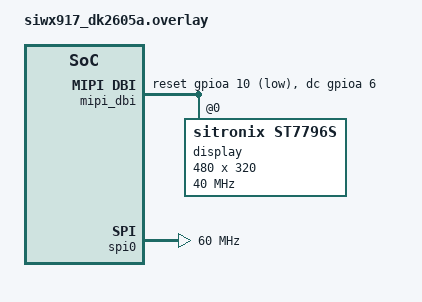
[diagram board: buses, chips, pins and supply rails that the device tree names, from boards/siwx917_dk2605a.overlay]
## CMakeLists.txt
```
cmake_minimum_required(VERSION 3.20.0)

find_package(Zephyr REQUIRED HINTS $ENV{ZEPHYR_BASE})
project(ble_hid_maze)

dt_chosen(display_node PROPERTY "zephyr,display")

if(NOT DEFINED display_node)
  message(FATAL_ERROR "No zephyr,display chosen node")
endif()

dt_prop(display_width
  PATH "${display_node}"
  PROPERTY width
  REQUIRED
)

dt_prop(display_height
  PATH "${display_node}"
  PROPERTY height
  REQUIRED
)

if(display_width EQUAL 128 AND display_height EQUAL 128)
  set(background_sources
    src/bg_hex_128x128.c
    src/bg_square_128x128.c
    src/bg_triangle_128x128.c
  )
elseif(display_width EQUAL 480 AND display_height EQUAL 320)
  set(background_sources
    src/bg_hex_480x320.c
    src/bg_square_480x320.c
    src/bg_triangle_480x320.c
  )
else()
  message(FATAL_ERROR
    "No maze assets for display resolution "
    "${display_width}x${display_height}"
  )
endif()

target_sources(app PRIVATE
  src/app_graphics.c
  src/app_graphics_marker.c
  src/app_input.c
  src/app_led.c
  src/bt_connection.c
  src/hid_mouse.c
  src/main.c
  ${background_sources}
)
```

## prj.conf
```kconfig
CONFIG_HEAP_MEM_POOL_SIZE=65536
CONFIG_LOG=y
CONFIG_DISPLAY=y

CONFIG_NO_OPTIMIZATIONS=n
CONFIG_SPEED_OPTIMIZATIONS=y

CONFIG_GPIO=y
CONFIG_INPUT=y


CONFIG_BT=y
CONFIG_BT_CENTRAL=y
CONFIG_BT_SMP=y
CONFIG_BT_GATT_CLIENT=y

CONFIG_BT_BONDABLE=y
CONFIG_BT_SETTINGS=y

CONFIG_BT_MAX_PAIRED=1
CONFIG_BT_KEYS_OVERWRITE_OLDEST=y

# For some BLE HID mouses we have to act as a device with input output
# required for bonding
CONFIG_BT_SMP_ENFORCE_MITM=n
CONFIG_BT_SMP_SC_ONLY=n
CONFIG_BT_SMP_SC_PAIR_ONLY=n

CONFIG_LOG=y
#CONFIG_LOG_MODE_DEFERRED=y
#CONFIG_LOG_BUFFER_SIZE=16384
#CONFIG_LOG_PROCESS_THREAD=y
#CONFIG_LOG_PROCESS_THREAD_STACK_SIZE=2048
#CONFIG_LOG_PROCESS_THREAD_PRIORITY=5

#CONFIG_BT_DEBUG_LOG=y
#CONFIG_BT_HCI_CORE_LOG_LEVEL_DBG=y
#CONFIG_BT_CONN_LOG_LEVEL_DBG=y
#CONFIG_BT_HCI_DRIVER_LOG_LEVEL_DBG=y


CONFIG_SETTINGS=y
CONFIG_SETTINGS_NVS=y

CONFIG_FLASH=y
CONFIG_FLASH_MAP=y
CONFIG_NVS=y

# We need only the internal Flash
CONFIG_SPI_NOR=n

CONFIG_BT_LOG_LEVEL_INF=y

# Onyl for debugging:
#CONFIG_BT_SMP_LOG_LEVEL_DBG=y

#CONFIG_BT_LOG_LEVEL_DBG=y
#CONFIG_SETTINGS_LOG_LEVEL_DBG=y

# Better fatal error diagnostics
#CONFIG_DEBUG=y
#CONFIG_ASSERT=y
#CONFIG_FAULT_DUMP=2

# Print thread names instead of "unknown"
#CONFIG_THREAD_NAME=y
#CONFIG_THREAD_MONITOR=y
#CONFIG_THREAD_STACK_INFO=y

# Catch stack problems earlier
#CONFIG_INIT_STACKS=y
#CONFIG_STACK_SENTINEL=y
#CONFIG_HW_STACK_PROTECTION=y

# Avoid losing logs on crash
CONFIG_LOG=y
CONFIG_LOG_MODE_IMMEDIATE=y

# Coredump to log output
#CONFIG_DEBUG_COREDUMP=y
#CONFIG_DEBUG_COREDUMP_BACKEND_LOGGING=y
#CONFIG_DEBUG_COREDUMP_MEMORY_DUMP_MIN=y


#CONFIG_EXCEPTION_STACK_TRACE=y

CONFIG_BT_RX_STACK_SIZE=4096
CONFIG_SYSTEM_WORKQUEUE_STACK_SIZE=4096
CONFIG_MAIN_STACK_SIZE=4096
```

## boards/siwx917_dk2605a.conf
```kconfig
#CONFIG_SPI_SILABS_SIWX91X_GSPI_DMA=y

#CONFIG_DMA=y
#CONFIG_SPI_SILABS_SIWX91X_GSPI_DMA_DESCR_COUNT=3

#CONFIG_MAIN_STACK_SIZE=8192
#CONFIG_SYSTEM_WORKQUEUE_STACK_SIZE=4096
#CONFIG_BT_RX_STACK_SIZE=4096
#CONFIG_BT_HCI_TX_STACK_SIZE=2048

#CONFIG_DEBUG=y
#CONFIG_ASSERT=y

#CONFIG_INIT_STACKS=y
#CONFIG_STACK_SENTINEL=y
#CONFIG_STACK_USAGE=y
#CONFIG_THREAD_STACK_INFO=y

# Thread listing
#CONFIG_THREAD_NAME=y
#CONFIG_THREAD_MONITOR=y

#CONFIG_FAULT_DUMP=2
#CONFIG_NO_OPTIMIZATIONS=y
#CONFIG_SPEED_OPTIMIZATIONS=n


# Shell
#CONFIG_SHELL=y
#CONFIG_KERNEL_SHELL=y

# Thread listing
#CONFIG_THREAD_MONITOR=y
#CONFIG_THREAD_NAME=y

# CPU usage / runtime stats
#CONFIG_THREAD_RUNTIME_STATS=y
#CONFIG_THREAD_RUNTIME_STATS_USE_TIMING_FUNCTIONS=y

# Required for runtime stats backend
#CONFIG_TIMING_FUNCTIONS=y


#CONFIG_UART_CONSOLE=y
#CONFIG_SHELL_BACKEND_SERIAL=y
```

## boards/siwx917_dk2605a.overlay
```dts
#include <zephyr/dt-bindings/mipi_dbi/mipi_dbi.h>

/* Disable the unused Wi-Fi network interface. */
&wifi0 {
	status = "disabled";
};

/ {
	chosen {
		zephyr,display = &display;
	};

	mipi_dbi {
		compatible = "zephyr,mipi-dbi-spi";
		spi-dev = <&spi0>;
		dc-gpios = <&gpioa 6 GPIO_ACTIVE_HIGH>; /* EXP21 */
		reset-gpios = <&gpioa 10 GPIO_ACTIVE_LOW>; /* EXP23 */
		write-only;
		#address-cells = <1>;
		#size-cells = <0>;

		display: display@0 {
			compatible = "sitronix,st7796s";
			reg = <0>;
			mipi-max-frequency = <DT_FREQ_M(40)>;
			mipi-mode = "MIPI_DBI_MODE_SPI_4WIRE";
			color-coding = "MIPI_DBI_MODE_RGB565";
			height = <320>;
			width = <480>;
			color-invert;
			madctl = <0x3e>;
			pgc = [F0 06 0B 07 06 05 2E 33 47 3A 17 16 2E 31];
			ngc = [F0 09 0D 09 08 23 2E 33 46 38 13 13 2C 32];
		};
	};
};

&pinctrl0 {
	spi_default: spi_default {
		group {
			pinmux = <GSPI_CLK_HP25>,  /* EXP03 */
				 <GSPI_CS0_HP28>,  /* EXP09 */
				 <GSPI_MOSI_HP27>; /* EXP07 */
		};
	};
};

&spi0 {
	pinctrl-0 = <&spi_default>;
	pinctrl-names = "default";
	clock-frequency = <DT_FREQ_M(60)>;
	status = "okay";
};
```

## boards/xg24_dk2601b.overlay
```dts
#include <zephyr/dt-bindings/mipi_dbi/mipi_dbi.h>

/* Allow the sensor rail to be powered down when it is not in use. */
&sensor_enable {
	/delete-property/ regulator-boot-on;
	regulator-boot-off;
};

/ {
	aliases {
		led0 = &green_led;
	};

	chosen {
		zephyr,display = &display;
	};

	mipi_dbi {
		compatible = "zephyr,mipi-dbi-spi";
		spi-dev = <&eusart1>;
		dc-gpios = <&gpiob 0 GPIO_ACTIVE_HIGH>; /* EXP09 */
		reset-gpios = <&gpiod 2 GPIO_ACTIVE_LOW>; /* EXP13 */
		write-only;
		#address-cells = <1>;
		#size-cells = <0>;

		display: display@1 {
			compatible = "sitronix,st7796s";
			reg = <0x1>;
			mipi-max-frequency = <DT_FREQ_M(20)>;
			mipi-mode = "MIPI_DBI_MODE_SPI_4WIRE";
			color-coding = "MIPI_DBI_MODE_RGB565";
			height = <320>;
			width = <480>;
			color-invert;
			madctl = <0x28>;
			pgc = [F0 06 0B 07 06 05 2E 33 47 3A 17 16 2E 31];
			ngc = [F0 09 0D 09 08 23 2E 33 46 38 13 13 2C 32];
		};
	};
};

&eusart1 {
	clock-frequency = <DT_FREQ_M(20)>;
	cs-gpios = <&gpioc 0 GPIO_ACTIVE_LOW>,
		   <&gpioa 7 GPIO_ACTIVE_LOW>;
	status = "okay";
};

&usart0 {
	current-speed = <115200>;
};
```

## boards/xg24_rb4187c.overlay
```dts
/*
 * Copyright (c) 2025 Silabs
 *
 * SPDX-License-Identifier: Apache-2.0
 */

#include <zephyr/dt-bindings/mipi_dbi/mipi_dbi.h>


/ {
    leds {
        status = "disabled";
    };

	chosen {
		zephyr,display = &st7796_st7796_dlc0347bwp00sf_320x480;

	};

    mipi_dbi_st7796_dlc0347bwp00sf_320x480 {
		compatible = "zephyr,mipi-dbi-spi";
		spi-dev = <&eusart1>;
		dc-gpios = < &gpioa 5 GPIO_ACTIVE_HIGH>; /* EXP_HEADER7 */
		reset-gpios = < &gpioa 6 GPIO_ACTIVE_LOW>; /* EXP_HEADER11 */
		write-only;
		#address-cells = <1>;
		#size-cells = <0>;

		st7796_st7796_dlc0347bwp00sf_320x480: st7796@2 {
			compatible = "sitronix,st7796s";
			reg = <0x2>;
			mipi-max-frequency = <DT_FREQ_M(10)>;
   			mipi-mode = "MIPI_DBI_MODE_SPI_4WIRE";
            height = <480>;
			width = <320>;
			/* madctl = <0x68>; // 0x36 0x08 0x68 0xC8 0xA8*/

	        pgc = /bits/ 8 <0x0F 0x1F 0x1C 0x0C 0x0F 0x08 0x48 0x98 0x37 0x0A 0x13 0x04 0x11 0x0D>;
			ngc = /bits/ 8 <0x0F 0x32 0x2E 0x0B 0x0D 0x05 0x47 0x75 0x37 0x06 0x10 0x03 0x24 0x20>;
		};
	};
};

/delete-node/ &ls0xx_ls013b7dh03;

&eusart1 {
	cs-gpios = <&gpioc 8 GPIO_ACTIVE_HIGH>, <&gpioc 4 GPIO_ACTIVE_LOW>, <&gpioc 0 GPIO_ACTIVE_LOW>; /* EXP_HEADER10 */
    status = "okay";
};

&usart0 {
	current-speed = <921600>;
};
```

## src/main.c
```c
/*
 * Copyright (c) 2026 Silicon Laboratories Inc.
 * Copyright (c) 2019 Jan Van Winkel <jan.van_winkel@dxplore.eu>
 *
 * Based on ST7789V sample:
 * Copyright (c) 2019 Marc Reilly
 *
 * SPDX-License-Identifier: Apache-2.0
 */

#include <zephyr/logging/log.h>
LOG_MODULE_REGISTER(main, LOG_LEVEL_INF);

#include <zephyr/kernel.h>
#include <zephyr/sys/util.h>

#include <stdint.h>
#include <stdlib.h>

#include "app_types.h"
#include "ble_hid_app.h"
#include "app_input.h"
#include "app_display.h"
#include "app_graphics.h"
#include "app_graphics_marker.h"

enum states_t {
	APP_STATE_START,
	APP_STATE_LOAD_GAME,
	APP_STATE_RUN_GAME,
	APP_STATE_FINISH_GAME,
};

int main(void)
{
	enum states_t app_state = APP_STATE_START;
	struct int16_xy_pair marker_pos_actual;
	struct int16_xy_pair marker_pos_new;
	struct mouse_data_element mouse_data_new_element;
	int ret;

	while (true) {
		switch (app_state) {
		case APP_STATE_START:
			LOG_INF("Starting BLE Maze game");

			app_input_init();
			ret = app_graphics_init();
			if (ret) {
				LOG_ERR("App graphics init failed: %d", ret);
				return ret;
			}

			ret = ble_hid_app_start();
			if (ret) {
				LOG_ERR("HID app start failed: %d", ret);
				return ret;
			}

			app_state = APP_STATE_LOAD_GAME;
			break;

		case APP_STATE_LOAD_GAME:
			app_graphics_canvas_clear();
			ret = app_graphics_load_background();
			if (ret) {
				LOG_ERR("Load background failed: %d", ret);
				return ret;
			}

			marker_pos_actual.x = 10;
			marker_pos_actual.y = DISPLAY_H / 2;
			app_graphics_canvas_draw(marker_pos_actual.x, marker_pos_actual.y);
			ret = app_graphics_draw_marker(marker_pos_actual.x, marker_pos_actual.y);
			if (ret) {
				LOG_ERR("Draw marker failed: %d", ret);
				return ret;
			}

			app_input_flush();

			app_state = APP_STATE_RUN_GAME;
			break;

		case APP_STATE_RUN_GAME:

			if (app_input_get_mouse(&mouse_data_new_element, K_FOREVER) == 0) {

				if (mouse_data_new_element.left_button) {
					app_state = APP_STATE_LOAD_GAME;
					break;
				} else if (mouse_data_new_element.right_button) {
					app_state = APP_STATE_LOAD_GAME;
					app_graphics_next_background();
					break;
				}

				marker_pos_new.x = CLAMP(
					(int32_t)marker_pos_actual.x + mouse_data_new_element.dx,
					MARKER_BUF_DIM / 2 + 1, DISPLAY_W - MARKER_BUF_DIM / 2 - 1);
				marker_pos_new.y = CLAMP(
					(int32_t)marker_pos_actual.y + mouse_data_new_element.dy,
					MARKER_BUF_DIM / 2 + 1, DISPLAY_H - MARKER_BUF_DIM / 2 - 1);

				/* Draw a line with Bresenham's algorithm. The display-frame
				 * limits have already been handled above.
				 */
				int16_t x0 = marker_pos_actual.x;
				int16_t y0 = marker_pos_actual.y;
				int16_t x1 = marker_pos_new.x;
				int16_t y1 = marker_pos_new.y;

				const int16_t dx = abs(x1 - x0);
				const int16_t dy = abs(y1 - y0);
				const int16_t sx = (x0 < x1) ? 1 : -1;
				const int16_t sy = (y0 < y1) ? 1 : -1;

				int16_t err = dx - dy;
				uint8_t draw_step = 0;

				while (x0 != x1 || y0 != y1) {
					int16_t old_err = err;
					int16_t e2 = 2 * old_err;

					bool step_x = (x0 != x1) && (e2 > -dy);
					bool step_y = (y0 != y1) && (e2 < dx);

					int16_t next_x = x0 + (step_x ? sx : 0);
					int16_t next_y = y0 + (step_y ? sy : 0);
					int16_t next_err = old_err;

					if (step_x) {
						next_err -= dy;
					}

					if (step_y) {
						next_err += dx;
					}

					enum touch_element touched =
						app_graphics_marker_touching(next_x, next_y);

					if (touched == TOUCH_FINISH_LINE) {
						LOG_INF("Drawing: touched finish color");
						app_state = APP_STATE_FINISH_GAME;
						break;
					}

					if (touched != TOUCH_WALL) {
						/* The normal Bresenham step is free. */
						x0 = next_x;
						y0 = next_y;
						err = next_err;
					} else {
						/*
						 * The requested step is blocked. Try moving along
						 * one axis from the last collision-free position.
						 * This produces sliding along horizontal, vertical
						 * and diagonal obstacles.
						 */
						bool can_move_x = false;
						bool can_move_y = false;

						enum touch_element touched_x = TOUCH_WALL;
						enum touch_element touched_y = TOUCH_WALL;

						if (x0 != x1) {
							touched_x = app_graphics_marker_touching(
								x0 + sx, y0);
							can_move_x = touched_x != TOUCH_WALL;
						}

						if (y0 != y1) {
							touched_y = app_graphics_marker_touching(
								x0, y0 + sy);
							can_move_y = touched_y != TOUCH_WALL;
						}

						/* Check the finish line for the alternative
						 * movements too. */
						if ((can_move_x &&
						     touched_x == TOUCH_FINISH_LINE) ||
						    (can_move_y &&
						     touched_y == TOUCH_FINISH_LINE)) {
							LOG_INF("Drawing: touched finish color");
							app_state = APP_STATE_FINISH_GAME;
							break;
						}

						/*
						 * Prefer the axis having the largest remaining
						 * mouse movement. If it is blocked, slide along the
						 * other axis.
						 */
						if (abs(x1 - x0) >= abs(y1 - y0)) {
							if (can_move_x) {
								x0 += sx;
								err = old_err - dy;
							} else if (can_move_y) {
								y0 += sy;
								err = old_err + dx;
							} else {
								LOG_DBG("Drawing: movement completely blocked");
								x1 = x0;
								y1 = y0;
							}
						} else {
							if (can_move_y) {
								y0 += sy;
								err = old_err + dx;
							} else if (can_move_x) {
								x0 += sx;
								err = old_err - dy;
							} else {
								LOG_DBG("Drawing: movement completely blocked");
								x1 = x0;
								y1 = y0;
							}
						}
					}

					app_graphics_canvas_draw(x0, y0);

					/*
					 * Keep the logical position synchronized with every
					 * collision-free step. Display updates can still be
					 * throttled.
					 */
					marker_pos_actual.x = x0;
					marker_pos_actual.y = y0;

					draw_step++;

					/*
					 * A wall can stop the Bresenham loop before the next
					 * throttled display update. In that case (x0 == x1 && y0 ==
					 * y1) render the final position as well.
					 */

					if (draw_step >= MAX_MOVEMENT_WITHOUT_UPDATE ||
					    (x0 == x1 && y0 == y1)) {
						ret = app_graphics_draw_marker(x0, y0);
						if (ret) {
							LOG_ERR("Draw marker failed: %d", ret);
							return ret;
						}
						draw_step = 0;
					}
				}
			}

			break;

		case APP_STATE_FINISH_GAME:

			LOG_INF("Game: loading the next background");

			k_msleep(500);

			app_graphics_next_background();

			app_state = APP_STATE_LOAD_GAME;
			break;

		default:
			app_state = APP_STATE_START;
			break;
		}
	}
}
```

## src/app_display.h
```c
/*
 * Copyright (c) 2026 Silicon Laboratories Inc.
 *
 * SPDX-License-Identifier: Apache-2.0
 */

#ifndef APP_DISPLAY_H_
#define APP_DISPLAY_H_

#include <zephyr/kernel.h>

#ifdef __cplusplus
extern "C" {
#endif

#define DISPLAY_NODE DT_CHOSEN(zephyr_display)
BUILD_ASSERT(DT_NODE_HAS_STATUS(DISPLAY_NODE, okay), "zephyr,display node is not okay");

#define DISPLAY_W DT_PROP(DISPLAY_NODE, width)
#define DISPLAY_H DT_PROP(DISPLAY_NODE, height)

extern const struct device *display_dev;
extern struct display_capabilities display_dev_capabilities;

#ifdef __cplusplus
}
#endif

#endif /* APP_DISPLAY_H_ */
```

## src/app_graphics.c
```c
/*
 * Copyright (c) 2026 Silicon Laboratories Inc.
 *
 * SPDX-License-Identifier: Apache-2.0
 */

#include <errno.h>
#include <string.h>

#include <zephyr/device.h>
#include "app_graphics.h"
#include "app_graphics_marker.h"
#include "app_display.h"
#include <zephyr/drivers/display.h>
#include <zephyr/logging/log.h>
#include <zephyr/sys/byteorder.h>
#include <zephyr/sys/util.h>

LOG_MODULE_REGISTER(app_graphics, LOG_LEVEL_INF);

#define BACKGROUND_COUNT          3

#define RGB_TO_RGB565(r, g, b)                                                                     \
	((((uint16_t)(r) >> 3) << 11) | (((uint16_t)(g) >> 2) << 5) | ((uint16_t)(b) >> 3))
#define COLOR_RGB_565_BLACK  0x0000U
#define COLOR_RGB_565_WHITE  0xffffU
#define COLOR_RGB_565_RED    RGB_TO_RGB565(255, 0, 0)
#define COLOR_RGB_565_GREEN  RGB_TO_RGB565(0, 255, 0)
#define COLOR_RGB_565_YELLOW RGB_TO_RGB565(255, 208, 84)

extern const struct c_image bg_hex;
extern const struct c_image bg_square;
extern const struct c_image bg_triangle;

static const struct device *const display_dev = DEVICE_DT_GET(DT_CHOSEN(zephyr_display));
static struct display_capabilities display_capabilities;

/* One bit per pixel is enough to retain the marker trail. */
static uint8_t canvas_bitmap[(DISPLAY_W * DISPLAY_H) / 8];

static size_t display_bits_per_pixel;

/* The display is updated one row at a time, avoiding a full RGB frame buffer. */
static uint8_t *display_row_buf;
static struct display_buffer_descriptor display_row_buf_desc;

/* Scratch buffer used to redraw the marker and its immediate surroundings. */
static uint8_t *marker_draw_buf;
static struct display_buffer_descriptor marker_draw_buf_desc;

static size_t game_background_id;
static const struct c_image *const game_backgrounds[BACKGROUND_COUNT] = {
	&bg_square,
	&bg_triangle,
	&bg_hex,
};
static const struct c_image *current_background;

static int (*load_background_fn)(void);
static int (*draw_marker_fn)(uint16_t x, uint16_t y);

static uint16_t bg_color;
static uint16_t marker_color;
static uint16_t line_color;
static uint16_t finish_color;

static int init_display_row_buf(void);
static int init_marker_draw_buf_mono(void);
static int init_marker_draw_buf_rgb565(void);
static void canvas_set_pixel(uint16_t x, uint16_t y);
static uint8_t canvas_get_pixel(uint16_t x, uint16_t y);
static int load_background_mono(void);
static int load_background_rgb565(void);
static int draw_marker_mono(uint16_t x, uint16_t y);
static int draw_marker_rgb565(uint16_t x, uint16_t y);

int app_graphics_init(void)
{
	int err;

	if (!device_is_ready(display_dev)) {
		LOG_ERR("Display device %s is not ready", display_dev->name);
		return -ENODEV;
	}

	display_get_capabilities(display_dev, &display_capabilities);
	LOG_INF("Display: %ux%u, pixel format 0x%04x", display_capabilities.x_resolution,
		display_capabilities.y_resolution, display_capabilities.current_pixel_format);

	switch (display_capabilities.current_pixel_format) {
	case PIXEL_FORMAT_MONO01:
	case PIXEL_FORMAT_MONO10:
		display_bits_per_pixel = 1;
		load_background_fn = load_background_mono;
		draw_marker_fn = draw_marker_mono;
		init_marker_draw_buf_mono();
		init_display_row_buf();

		bg_color = sys_cpu_to_be16(COLOR_RGB_565_BLACK);
		marker_color = sys_cpu_to_be16(COLOR_RGB_565_WHITE);
		line_color = sys_cpu_to_be16(COLOR_RGB_565_WHITE);
		finish_color = sys_cpu_to_be16(COLOR_RGB_565_GREEN);
		break;
	case PIXEL_FORMAT_RGB_565:
	case PIXEL_FORMAT_RGB_565X:
		display_bits_per_pixel = 16;
		load_background_fn = load_background_rgb565;
		draw_marker_fn = draw_marker_rgb565;
		init_marker_draw_buf_rgb565();
		init_display_row_buf();

		bg_color = sys_cpu_to_be16(COLOR_RGB_565_BLACK);
		marker_color = sys_cpu_to_be16(COLOR_RGB_565_RED);
		line_color = sys_cpu_to_be16(COLOR_RGB_565_YELLOW);
		finish_color = sys_cpu_to_be16(COLOR_RGB_565_GREEN);
		break;
	default:
		LOG_ERR("Unsupported display pixel format 0x%04x",
			display_capabilities.current_pixel_format);
		return -ENOTSUP;
	}

	game_background_id = 0;
	current_background = game_backgrounds[game_background_id];

	err = display_blanking_off(display_dev);
	if (err < 0) {
		LOG_ERR("Could not enable the display: %d", err);
		return err;
	}

	return 0;
}

void app_graphics_next_background(void)
{
	game_background_id = (game_background_id + 1) % ARRAY_SIZE(game_backgrounds);
	current_background = game_backgrounds[game_background_id];
	LOG_INF("Switched to background %u", game_background_id);
}

static int init_display_row_buf(void)
{

	LOG_INF("Graphics buffer init");
    display_row_buf = k_malloc(DISPLAY_W * display_bits_per_pixel / 8);
	if (display_row_buf == NULL) {
        LOG_ERR("Failed to allocate buffer for updating display.");
		return -1;
	}

	display_row_buf_desc.frame_incomplete = false;
	display_row_buf_desc.pitch = DISPLAY_W;
	display_row_buf_desc.width = DISPLAY_W;
	display_row_buf_desc.height = 1;
	display_row_buf_desc.buf_size = DISPLAY_W * display_bits_per_pixel / 8;

	return 0;
}

static int init_marker_draw_buf_mono(void)
{
	LOG_INF("Draw buffer init");
    marker_draw_buf = k_malloc(DISPLAY_W * MARKER_BUF_DIM * display_bits_per_pixel / 8);
	if (marker_draw_buf == NULL) {
        LOG_ERR("Failed to allocate buffer for drawing marker.");
		return -1;
	}

	marker_draw_buf_desc.frame_incomplete = false;
	marker_draw_buf_desc.pitch = DISPLAY_W;
	marker_draw_buf_desc.width = DISPLAY_W; // <-- has to aligned to display width!!
	marker_draw_buf_desc.height = MARKER_BUF_DIM;
	marker_draw_buf_desc.buf_size = DISPLAY_W * MARKER_BUF_DIM * display_bits_per_pixel / 8;

    return 0;
}

static int init_marker_draw_buf_rgb565(void)
{
	LOG_INF("Draw buffer init");
    marker_draw_buf = k_malloc(MARKER_BUF_DIM * MARKER_BUF_DIM * display_bits_per_pixel / 8);
	if (marker_draw_buf == NULL) {
        LOG_ERR("Failed to allocate buffer for drawing marker.");
		return -1;
	}

	// Set buffer descriptor parameters
	marker_draw_buf_desc.frame_incomplete=false;
	marker_draw_buf_desc.pitch = MARKER_BUF_DIM;
	marker_draw_buf_desc.width = MARKER_BUF_DIM;
	marker_draw_buf_desc.height = MARKER_BUF_DIM;
	marker_draw_buf_desc.buf_size = MARKER_BUF_DIM * MARKER_BUF_DIM * display_bits_per_pixel / 8;

	return 0;
}

void app_graphics_canvas_clear(void)
{
	memset(canvas_bitmap, 0, sizeof(canvas_bitmap));
}

void app_graphics_canvas_draw(uint16_t x0, uint16_t y0)
{
	int16_t w = LINE_WIDTH / 2;

	for (int16_t y = -w; y <= w; y++) {
		for (int16_t x = -w; x <= w; x++) {
			canvas_set_pixel(x0 + x, y0 + y);
		}
	}
}

static void canvas_set_pixel(uint16_t x, uint16_t y)
{
	if (x >= DISPLAY_W || y >= DISPLAY_H)
        return;  // bounds protection

	uint32_t bit_index  = (uint32_t)y * DISPLAY_W + x;
	uint32_t byte_index = bit_index >> 3;      // divide by 8
    uint8_t  bit_offset = bit_index & 0x07;    // mod 8

    canvas_bitmap[byte_index] |= (1u << bit_offset);
}

static uint8_t canvas_get_pixel(uint16_t x, uint16_t y)
{
	if (x >= DISPLAY_W || y >= DISPLAY_H)
        return 0;  // bounds protection

	uint32_t bit_index  = (uint32_t)y * DISPLAY_W + x;
	uint32_t byte_index = bit_index >> 3;      // divide by 8
    uint8_t  bit_offset = bit_index & 0x07;    // mod 8

	return (canvas_bitmap[byte_index] >> bit_offset) & 1u;
}

static inline uint8_t canvas_get_pixel_inline(uint16_t x, uint16_t y){
    return (canvas_bitmap[y * (DISPLAY_W / 8) + (x >> 3)] >> (x & 7)) & 1u;
}

static inline bool rgb565_to_mono_dither(uint16_t rgb565, size_t x, size_t y)
{
	static const uint8_t bayer4x4[4][4] = {
		{0, 8, 2, 10},
		{12, 4, 14, 6},
		{3, 11, 1, 9},
		{15, 7, 13, 5},
	};

	uint8_t r = (rgb565 >> 11) & 0x1F;
	uint8_t g = (rgb565 >> 5) & 0x3F;
	uint8_t b = rgb565 & 0x1F;

	uint8_t r8 = (r << 3) | (r >> 2);
	uint8_t g8 = (g << 2) | (g >> 4);
	uint8_t b8 = (b << 3) | (b >> 2);

	/* Luma, approximately 0..255 */
	uint16_t luma = (30 * r8 + 59 * g8 + 11 * b8) / 100;

	/* Convert Bayer value 0..15 to threshold around 0..255 */
	uint8_t threshold = bayer4x4[y & 3][x & 3] * 16 + 8;

	return luma > threshold;
}

static int load_background_mono(void)
{
	const uint16_t *pixel_data_b16 = (const uint16_t *)current_background->pixel_data;
	uint8_t *row_buf = display_row_buf;
	int ret;

	LOG_INF("Loading background for monochrome display");

	for (size_t y = 0; y < DISPLAY_H; y++) {
		memset(row_buf, 0, display_row_buf_desc.buf_size);

		for (size_t x = 0; x < DISPLAY_W; x++) {
			uint16_t pixel = pixel_data_b16[x + y * DISPLAY_W];

			if (rgb565_to_mono_dither(pixel, x, y)) {
				size_t byte_idx = x / 8;
				uint8_t bit_idx = x % 8; /* LSB first */

				row_buf[byte_idx] |= BIT(bit_idx);
			}
		}
		ret = display_write(display_dev, 0, y, &display_row_buf_desc, row_buf);
		if (ret < 0) {
			LOG_ERR("Failed to write to display (error %d)", ret);
			return ret;
		}
	}
	return 0;
}

static int load_background_rgb565(void)
{
	const uint16_t *pixel_data_b16 = (const uint16_t *)current_background->pixel_data;
	uint16_t *row_buf = (uint16_t *)display_row_buf;

	int ret;

	LOG_INF("Loading background for RGB565 display");
	for (size_t y = 0; y < DISPLAY_H; y++) {
		for (size_t x = 0; x < DISPLAY_W; x++) {
			row_buf[x] = (uint16_t)sys_cpu_to_be16(pixel_data_b16[x + y * DISPLAY_W]);
		}
		ret = display_write(display_dev, 0, y, &display_row_buf_desc, row_buf);
		if (ret < 0) {
			LOG_ERR("Failed to write to display (error %d)", ret);
			return ret;
		}
	}
	return 0;
}

static int draw_marker_mono(uint16_t x0, uint16_t y0)
{
	const uint16_t *pixel_data_b16 = (const uint16_t *)current_background->pixel_data;
	uint8_t *marker_buf = marker_draw_buf;
	int ret;

	LOG_DBG("draw_marker_mono x0:%d y0:%d", x0, y0);

	/*
	 * Reconstruct a full-width strip from the background and trail. A
	 * full-width pitch is required by monochrome display drivers.
	 */
	memset(marker_buf, 0, marker_draw_buf_desc.buf_size);
	for (size_t y = 0; y < marker_draw_buf_desc.height; y++) {
		for (size_t x = 0; x < marker_draw_buf_desc.width; x++) {
			uint16_t pixel;

			if (canvas_get_pixel_inline(x, y0 + y - marker_draw_buf_desc.height / 2)) {
				pixel = line_color;
			} else {
				pixel = pixel_data_b16[(x) +
						       (y0 + y - marker_draw_buf_desc.height / 2) *
							       DISPLAY_W];
			}

			if (rgb565_to_mono_dither(pixel, x,
						  y0 + y - marker_draw_buf_desc.height / 2)) {
				size_t byte_idx = x / 8;
				uint8_t bit_idx = x % 8; /* LSB first */

				marker_buf[byte_idx + y * (marker_draw_buf_desc.width / 8)] |=
					BIT(bit_idx);
			}
		}
	}

	/* Overlay each rectangular marker segment onto the reconstructed strip. */
	for (size_t i = 0; i < MARKER_DRAW_BUFFER_SEGMENT_ELEMENTS; i++) {
		for (int16_t sy = 0; sy < marker_draw_buffer_segment_dimensions[i].y; sy++) {
			for (int16_t sx = 0; sx < marker_draw_buffer_segment_dimensions[i].x;
			     sx++) {
				if (rgb565_to_mono_dither(
					    marker_color,
					    x0 + sx + marker_draw_buffer_segment_xy[i].x,
					    y0 + sy + marker_draw_buffer_segment_xy[i].y)) {
					int16_t buf_x =
						x0 + sx + marker_draw_buffer_segment_xy[i].x;
					int16_t buf_y =
						y0 + sy + marker_draw_buffer_segment_xy[i].y;

					int16_t bit_x = buf_x;
					int16_t bit_y =
						buf_y - (y0 - marker_draw_buf_desc.height / 2);

					size_t byte_idx = bit_x / 8;
					uint8_t bit_idx = bit_x % 8; /* LSB first */

					marker_buf[byte_idx + bit_y * (marker_draw_buf_desc.width /
								       8)] |= BIT(bit_idx);
				}
			}
		}
	}

	LOG_DBG("draw_marker_mono write to display dev x0:%d y0:%d w:%d h:%d", 0,
		y0 - marker_draw_buf_desc.height / 2, marker_draw_buf_desc.width,
		marker_draw_buf_desc.height);
	ret = display_write(display_dev, 0, y0 - marker_draw_buf_desc.height / 2,
			    &marker_draw_buf_desc, marker_buf);
	if (ret < 0) {
		LOG_ERR("Failed to write to display (error %d)", ret);
		return ret;
	}
	return 0;
}

static int draw_marker_rgb565(uint16_t x0, uint16_t y0)
{
	const uint16_t *pixel_data_b16 = (const uint16_t *)current_background->pixel_data;
	uint16_t *marker_buf = (uint16_t *)marker_draw_buf;
	int ret;

	LOG_DBG("draw_marker_rgb565 x0:%d y0:%d", x0, y0);

	/* Reconstruct the marker-sized area from the background and trail. */
	memset(marker_buf, 0, marker_draw_buf_desc.buf_size);
	for (size_t y = 0; y < marker_draw_buf_desc.height; y++) {
		for (size_t x = 0; x < marker_draw_buf_desc.width; x++) {
			uint16_t pixel;

			if (canvas_get_pixel(x0 + x - marker_draw_buf_desc.width / 2,
					     y0 + y - marker_draw_buf_desc.height / 2)) {
				pixel = line_color;
			} else {
				pixel = sys_cpu_to_be16(
					pixel_data_b16[(x0 + x - marker_draw_buf_desc.width / 2) +
						       (y0 + y - marker_draw_buf_desc.height / 2) *
							       DISPLAY_W]);
			}

			marker_buf[x + y * marker_draw_buf_desc.pitch] = pixel;
		}
	}

	/* Overlay each rectangular marker segment at the buffer center. */
	for (size_t i = 0; i < MARKER_DRAW_BUFFER_SEGMENT_ELEMENTS; i++) {
		for (int16_t sy = 0; sy < marker_draw_buffer_segment_dimensions[i].y; sy++) {
			for (int16_t sx = 0; sx < marker_draw_buffer_segment_dimensions[i].x;
			     sx++) {
				marker_buf[(marker_draw_buf_desc.width / 2 + sx +
					    marker_draw_buffer_segment_xy[i].x) +
					   (marker_draw_buf_desc.height / 2 + sy +
					    marker_draw_buffer_segment_xy[i].y) *
						   marker_draw_buf_desc.pitch] = marker_color;
			}
		}
	}

	LOG_DBG("draw_marker_rgb565 write to display dev x0:%d y0:%d w:%d h:%d",
		x0 - marker_draw_buf_desc.width / 2, y0 - marker_draw_buf_desc.height / 2,
		marker_draw_buf_desc.width, marker_draw_buf_desc.height);
	ret = display_write(display_dev, x0 - marker_draw_buf_desc.width / 2,
			    y0 - marker_draw_buf_desc.height / 2, &marker_draw_buf_desc,
			    marker_buf);
	if (ret < 0) {
		LOG_ERR("Failed to write to display (error %d)", ret);
		return ret;
	}
	return 0;
}

enum touch_element app_graphics_marker_touching(uint16_t x0, uint16_t y0)
{
	int16_t x, y;
	const int16_t *pixel_data_b16 = (const int16_t *)current_background->pixel_data;

	for (size_t i = 0; i < MARKER_DRAW_BUFFER_BORDER_ELEMENTS; i++) {
		x = x0 + marker_draw_buffer_border[i].x;
		y = y0 + marker_draw_buffer_border[i].y;

		if (x < 0 || y < 0 || x >= DISPLAY_W || y >= DISPLAY_H) {
			return TOUCH_DISPLAY_BORDER;
		}

		if (sys_cpu_to_be16(pixel_data_b16[y * DISPLAY_W + x]) == finish_color) {
			return TOUCH_FINISH_LINE;
		} else if (sys_cpu_to_be16(pixel_data_b16[y * DISPLAY_W + x]) != bg_color) {
			return TOUCH_WALL;
		}
	}

	return TOUCH_BACKGROUND;
}

int app_graphics_load_background(void)
{
	return load_background_fn();
}

int app_graphics_draw_marker(uint16_t x, uint16_t y)
{
	return draw_marker_fn(x, y);
}
```

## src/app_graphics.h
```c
/*
 * Copyright (c) 2026 Silicon Laboratories Inc.
 *
 * SPDX-License-Identifier: Apache-2.0
 */

#ifndef APP_GRAPHICS_H_
#define APP_GRAPHICS_H_

#include <zephyr/kernel.h>

#include "app_types.h"

#ifdef __cplusplus
extern "C" {
#endif




extern uint8_t canvas_bitmap[];

// Images from src/bg_*.c
#define BACKGROUND_ELEMENTS 3
extern const c_image bg_hex;
extern const c_image bg_square;
extern const c_image bg_triangle;
extern const c_image bg_test;

// https://codebox.net/pages/maze-generator/online

// For 320x240 display:
// Square 14x10 Seed: 857133801
// Triangle 22x10 Seed: 741051981
// Hex 12x10 Seed: 620715798

// for 128x128 display:
// Square 7X7 Seed: 446683954
// Triangle 10x7 Seed: 991189289
// Hex 4x5 Seed: 396377894


uint8_t app_graphics_init();

extern int (*load_background)();
extern int (*draw_marker)(uint16_t, uint16_t);
uint8_t canvas_draw(uint16_t x0, uint16_t y0);
void canvas_clean();
void next_background();

touch_elements_t marker_touching(uint16_t x0, uint16_t y0);


#define RGB_TO_RGB565(r,g,b) ( (uint16_t)( \
    (((uint16_t)((r) & 0xFF) >> 3) << 11) | \
    (((uint16_t)((g) & 0xFF) >> 2) <<  5) | \
    (((uint16_t)((b) & 0xFF) >> 3) <<  0)   \
) )

#define COLOR_RGB_565_WHITE     (uint16_t) 0xffff
#define COLOR_RGB_565_BLACK     (uint16_t) 0x0000
#define COLOR_RGB_565_RED       RGB_TO_RGB565(255, 0, 0)
#define COLOR_RGB_565_GREEN     RGB_TO_RGB565(0, 255, 0)
#define COLOR_RGB_565_BLUE      RGB_TO_RGB565(0, 0, 255)

#define COLOR_RGB_565_GRAY_50   RGB_TO_RGB565(128, 128, 128)
#define COLOR_RGB_565_GRAY_35   RGB_TO_RGB565(90, 90, 90)
#define COLOR_RGB_565_GRAY_25   RGB_TO_RGB565(64, 64, 64)


#define COLOR_RGB_565_RED_30	RGB_TO_RGB565(77, 0, 0)
#define COLOR_RGB_565_GREEN_30	RGB_TO_RGB565(0, 77, 0)
#define COLOR_RGB_565_BLUE_30	RGB_TO_RGB565(0, 0, 77)

#define COLOR_RGB_565_YELLOW	RGB_TO_RGB565(255, 208, 84)
#define COLOR_RGB_565_BLUE_M	RGB_TO_RGB565(36, 57, 102)
#define COLOR_RGB_565_RED_M		RGB_TO_RGB565(176, 0, 00)


#ifdef __cplusplus
}
#endif

#endif /* APP_GRAPHICS_H_ */
```

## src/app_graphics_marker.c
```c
/*
 * Copyright (c) 2026 Silicon Laboratories Inc.
 *
 * SPDX-License-Identifier: Apache-2.0
 */

#include "app_graphics_marker.h"

#if (DISPLAY_W <= 64) || (DISPLAY_H <= 64)
/* Tiny displays (radius 3) */
const struct int16_xy_pair marker_draw_buffer_segment_xy[] = {
        {-1,-1}
};
const struct int16_xy_pair marker_draw_buffer_segment_dimensions[] = {
        {3,3}
};

const struct int16_xy_pair marker_draw_buffer_border[] = {
	{-1,-1}, {0,-1}, {1,-1},
	{-1,0}, {1,0},
	{-1,1}, {0,1}, {1,1}
};

#elif (DISPLAY_W <= 128) || (DISPLAY_H <= 128)
/* Small displays (radius 5) */
const struct int16_xy_pair marker_draw_buffer_segment_xy[] = {
    {-1,-2},
    {-2,-1}
};
const struct int16_xy_pair marker_draw_buffer_segment_dimensions[] = {
    {3,5},
    {5,3}
};

const struct int16_xy_pair marker_draw_buffer_border[] = {
    {-1,-2}, {0,-2}, {1,-2},
    {-2,-1}, {2,-1},
    {-2,0}, {2,0},
    {-2,1}, {2,1},
    {-1,2}, {0,2}, {1,2}
};

#elif (DISPLAY_W <= 320) || (DISPLAY_H <= 320)
/* Medium displays (radius 9) */
const struct int16_xy_pair marker_draw_buffer_segment_xy[] = {
	{-3,-3},
	{-2,-4},
	{-4,-2}
};
const struct int16_xy_pair marker_draw_buffer_segment_dimensions[] = {
	{7,7},
	{5,9},
	{9,5}
};
const struct int16_xy_pair marker_draw_buffer_border [] = {
	{-2,-4}, {-1,-4}, {0,-4}, {1,-4}, {2,-4},
	{-3,-3}, {3,-3},
	{-4,-2}, {4,-2},
	{-4,-1}, {4,-1},
	{-4,0}, {4,0},
	{-4,1}, {4,1},
	{-4,2}, {4,2},
	{-3,3}, {3,3},
	{-2,4}, {-1,4}, {0,4}, {1,4}, {2,4}
};

#else
/* Large displays (radius 11) */
const struct int16_xy_pair marker_draw_buffer_segment_xy [] = {
	{-2,-5},
	{-3,-4},
	{-4,-3},
	{-5,-2}
};
const struct int16_xy_pair marker_draw_buffer_segment_dimensions [] = {
	{5,11},
	{7,9},
	{9,7},
	{11,5}
};
const struct int16_xy_pair marker_draw_buffer_border [] = {
	{-2,-5}, {-1,-5}, {0,-5}, {1,-5}, {2,-5},
	{-3,-4}, {3,-4},
	{-4,-3}, {4,-3},
	{-5,-2}, {5,-2},
	{-5,-1}, {5,-1},
	{-5,0}, {5,0},
	{-5,1}, {5,1},
	{-5,2}, {5,2},
	{-4,3}, {4,3},
	{-3,4}, {3,4},
	{-2,5}, {-1,5}, {0,5}, {1,5}, {2,5}
};

#endif
```

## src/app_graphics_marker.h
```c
/*
 * Copyright (c) 2026 Silicon Laboratories Inc.
 *
 * SPDX-License-Identifier: Apache-2.0
 */

#ifndef APP_GRAPHICS_MARKER_H_
#define APP_GRAPHICS_MARKER_H_

#include <zephyr/kernel.h>
#include "app_display.h"
#include "app_types.h"


#ifdef __cplusplus
extern "C" {
#endif

extern const struct int16_xy_pair marker_draw_buffer_segment_xy [];
extern const struct int16_xy_pair marker_draw_buffer_segment_dimensions [];

extern const struct int16_xy_pair marker_draw_buffer_border [];

#if (DISPLAY_W <= 64) || (DISPLAY_H <= 64)
// for tiny displays (radius 3)
#define LINE_WIDTH 1
#define MARKER_BUF_DIM 9
#define MARKER_BUF_MIN_WIDTH 5
#define MARKER_BUF_MIN_HEIGHT 5
#define MARKER_DRAW_BUFFER_BORDER_ELEMENTS 8
#define MARKER_DRAW_BUFFER_SEGMENT_ELEMENTS 1


#elif (DISPLAY_W <= 128) || (DISPLAY_H <= 128)
// for small displays (radius: 5)
#define LINE_WIDTH 1
#define MARKER_BUF_DIM 9
#define MARKER_BUF_MIN_WIDTH 7
#define MARKER_BUF_MIN_HEIGHT 7
#define MARKER_DRAW_BUFFER_SEGMENT_ELEMENTS 2
#define MARKER_DRAW_BUFFER_BORDER_ELEMENTS 12

#elif (DISPLAY_W <= 320) || (DISPLAY_H <= 320)
// for middle sized and bigger displays (radius: 9)
#define LINE_WIDTH 3
#define MARKER_BUF_DIM 21
#define MARKER_BUF_MIN_WIDTH 9
#define MARKER_BUF_MIN_HEIGHT 9
#define MARKER_DRAW_BUFFER_SEGMENT_ELEMENTS 3
#define MARKER_DRAW_BUFFER_BORDER_ELEMENTS 24

#else
// for larger displays (radius: 11)
#define LINE_WIDTH 5
#define MARKER_BUF_DIM 21
#define MARKER_BUF_MIN_WIDTH 13
#define MARKER_BUF_MIN_HEIGHT 13
#define MARKER_DRAW_BUFFER_SEGMENT_ELEMENTS 4
#define MARKER_DRAW_BUFFER_BORDER_ELEMENTS 28

#endif

#define MAX_MOVEMENT_WITHOUT_UPDATE ( ( (MARKER_BUF_DIM) - (MARKER_BUF_MIN_WIDTH) ) / 2)

#ifdef __cplusplus
}
#endif

#endif /* APP_GRAPHICS_MARKER_H_ */
```

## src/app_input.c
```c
/*
 * Copyright (c) 2026 Silicon Laboratories Inc.
 *
 * SPDX-License-Identifier: Apache-2.0
 */

#include <errno.h>

#include <zephyr/kernel.h>
#include <zephyr/logging/log.h>

LOG_MODULE_REGISTER(app_input, LOG_LEVEL_INF);

#include "app_input.h"

#define APP_INPUT_MOUSE_QUEUE_LEN 10

static char mouse_data_queue_buffer[APP_INPUT_MOUSE_QUEUE_LEN * sizeof(struct mouse_data_element)];
static struct k_msgq mouse_data_queue;

void app_input_init(void)
{
	k_msgq_init(&mouse_data_queue, mouse_data_queue_buffer, sizeof(struct mouse_data_element),
		    APP_INPUT_MOUSE_QUEUE_LEN);
}

int app_input_submit_mouse(const struct mouse_data_element *mouse_data)
{
	if (mouse_data == NULL) {
		return -EINVAL;
	}

	LOG_DBG("Put new: x:%d, y:%d, used elements:%d", mouse_data->dx, mouse_data->dy, k_msgq_num_used_get(&mouse_data_queue));

	while (k_msgq_put(&mouse_data_queue, mouse_data, K_NO_WAIT) != 0) {
		/*
		 * Preserve the current policy:
		 * if the queue is full, drop old mouse data and keep the
		 * newest report.
		 */
		k_msgq_purge(&mouse_data_queue);
	}

	return 0;
}

int app_input_get_mouse(struct mouse_data_element *mouse_data, k_timeout_t timeout)
{
	if (mouse_data == NULL) {
		return -EINVAL;
	}

	LOG_DBG("Get new: x:%d, y:%d, used elements:%d", mouse_data->dx, mouse_data->dy, k_msgq_num_used_get(&mouse_data_queue));

	return k_msgq_get(&mouse_data_queue, mouse_data, timeout);
}

void app_input_flush(void)
{
	k_msgq_purge(&mouse_data_queue);
}
```

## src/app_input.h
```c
/*
 * Copyright (c) 2026 Silicon Laboratories Inc.
 *
 * SPDX-License-Identifier: Apache-2.0
 */

#ifndef APP_INPUT_H_
#define APP_INPUT_H_

#include <zephyr/kernel.h>

#include "app_types.h"

#ifdef __cplusplus
extern "C" {
#endif

void app_input_init(void);

int app_input_submit_mouse(const struct mouse_data_element *mouse_data);

int app_input_get_mouse(struct mouse_data_element *mouse_data,
			k_timeout_t timeout);

void app_input_flush(void);

#ifdef __cplusplus
}
#endif

#endif /* APP_INPUT_H_ */
```

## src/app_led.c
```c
/*
 * Copyright (c) 2026 Silicon Laboratories Inc.
 *
 * SPDX-License-Identifier: Apache-2.0
 */

#include "app_led.h"

#include <errno.h>
#include <stdbool.h>
#include <stddef.h>
#include <stdint.h>

#include <zephyr/device.h>
#include <zephyr/devicetree.h>
#include <zephyr/drivers/gpio.h>
#include <zephyr/kernel.h>
#include <zephyr/sys/util.h>

#define LED_NODE DT_ALIAS(led0)

#if !DT_NODE_EXISTS(LED_NODE)
#error "Define devicetree alias led0"
#endif

static const struct gpio_dt_spec led = GPIO_DT_SPEC_GET(LED_NODE, gpios);

struct led_step {
	bool on;
	uint32_t duration_ms;
};

static const struct led_step blink_slow_pattern[] = {
	{true, 100},
	{false, 900},
};

static const struct led_step blink_fast_pattern[] = {
	{true, 100},
	{false, 100},
};

static const struct led_step heartbeat_pattern[] = {
	{true, 100},
	{false, 100},
	{true, 100},
	{false, 700},
};

static struct k_work_delayable led_work;

static const struct led_step *active_pattern;
static size_t active_pattern_len;
static size_t active_step;

static void led_work_handler(struct k_work *work)
{
	const struct led_step *step;

	ARG_UNUSED(work);

	if (active_pattern == NULL || active_pattern_len == 0) {
		return;
	}

	step = &active_pattern[active_step];

	gpio_pin_set_dt(&led, step->on);

	active_step++;
	if (active_step >= active_pattern_len) {
		active_step = 0;
	}

	k_work_schedule(&led_work, K_MSEC(step->duration_ms));
}

static int led_pattern_start(const struct led_step *pattern, size_t pattern_len)
{
	if (pattern == NULL || pattern_len == 0) {
		return -EINVAL;
	}

	k_work_cancel_delayable(&led_work);

	active_pattern = pattern;
	active_pattern_len = pattern_len;
	active_step = 0;

	k_work_schedule(&led_work, K_NO_WAIT);

	return 0;
}

static void led_pattern_stop(void)
{
	k_work_cancel_delayable(&led_work);

	active_pattern = NULL;
	active_pattern_len = 0;
	active_step = 0;
}

int app_led_init(void)
{
	int ret;

	if (!gpio_is_ready_dt(&led)) {
		return -ENODEV;
	}

	ret = gpio_pin_configure_dt(&led, GPIO_OUTPUT_INACTIVE);
	if (ret) {
		return ret;
	}

	k_work_init_delayable(&led_work, led_work_handler);

	active_pattern = NULL;
	active_pattern_len = 0;
	active_step = 0;

	return 0;
}

int app_led_on(void)
{
	led_pattern_stop();
	return gpio_pin_set_dt(&led, 1);
}

int app_led_off(void)
{
	led_pattern_stop();
	return gpio_pin_set_dt(&led, 0);
}

int app_led_blink_slow(void)
{
	return led_pattern_start(blink_slow_pattern, ARRAY_SIZE(blink_slow_pattern));
}

int app_led_blink_fast(void)
{
	return led_pattern_start(blink_fast_pattern, ARRAY_SIZE(blink_fast_pattern));
}

int app_led_heartbeat(void)
{
	return led_pattern_start(heartbeat_pattern, ARRAY_SIZE(heartbeat_pattern));
}
```

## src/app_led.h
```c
/*
 * Copyright (c) 2026 Silicon Laboratories Inc.
 *
 * SPDX-License-Identifier: Apache-2.0
 */


#ifndef APP_LED_H_
#define APP_LED_H_

int app_led_init(void);

int app_led_on(void);
int app_led_off(void);
int app_led_blink_slow(void);
int app_led_blink_fast(void);
int app_led_heartbeat(void);

#endif
```

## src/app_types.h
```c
/*
 * Copyright (c) 2026 Silicon Laboratories Inc.
 *
 * SPDX-License-Identifier: Apache-2.0
 */


#ifndef APP_TYPES_H
#define APP_TYPES_H

struct int16_xy_pair {
    int16_t x;
    int16_t y;
};

struct mouse_data_element {
    int16_t dx;
    int16_t dy;
    bool left_button;
    bool right_button;
};

// Image struct, exported with GIMP
typedef struct {
  unsigned int 	 width;
  unsigned int 	 height;
  unsigned int 	 bytes_per_pixel; /* 2:RGB16, 3:RGB, 4:RGBA */ 
  char         	*comment;
  unsigned char	 pixel_data[480 * 320 * 2 + 1];
} c_image;

typedef enum {
  touched_background,
  touched_wall,
  touched_finish_line,
  touched_display_border
} touch_elements_t;

#endif /* APP_TYPES_H */
```
